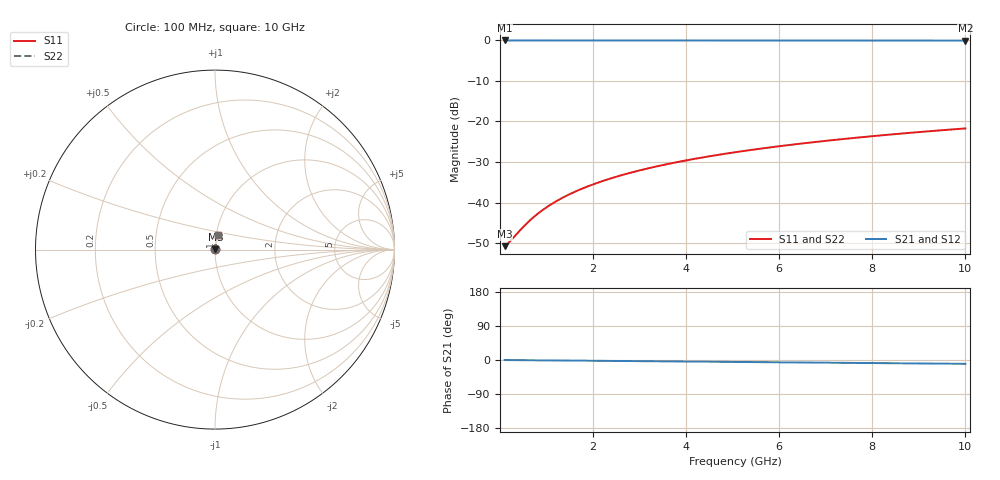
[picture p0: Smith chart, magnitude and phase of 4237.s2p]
# Hz S RI R 50.00
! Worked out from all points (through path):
!   100 points, 100 MHz to 10 GHz, reference 50 ohm
!   highest |S21| = -0.02 dB at 100 MHz (marker M1); lowest = -0.1 dB at 10 GHz (marker M2)
!   group delay of S21, straight-line fit = 2.8 ps
!   lowest |S11| = -50.7 dB at 100 MHz (marker M3), VSWR 1.01, Z = 50.3 + j0.0825 ohm
!   |S11| at or under -10 dB: start of sweep to end of sweep
!   |S22| runs from -50.7 to -21.7 dB; largest |S21 - S12| = 0
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1e8  0.00278 0.00082  0.9972 -0.00176  0.9972 -0.00176  0.00278 0.00082
2e8  0.0028 0.00164  0.9972 -0.00351  0.9972 -0.00351  0.0028 0.00164
5e8  0.00287 0.0041  0.9971 -0.00879  0.9971 -0.00879  0.00287 0.0041
6e8  0.00289 0.00492  0.9971 -0.0105  0.9971 -0.0105  0.00289 0.00492
7e8  0.00292 0.00574  0.9971 -0.0123  0.9971 -0.0123  0.00292 0.00574
9e8  0.00298 0.00738  0.997 -0.0158  0.997 -0.0158  0.00298 0.00738
1.1e9  0.00305 0.00902  0.9969 -0.0193  0.9969 -0.0193  0.00305 0.00902
1.3e9  0.00312 0.0107  0.9968 -0.0228  0.9968 -0.0228  0.00312 0.0107
1.5e9  0.00321 0.0123  0.9967 -0.0264  0.9967 -0.0264  0.00321 0.0123
1.8e9  0.00337 0.0148  0.9965 -0.0316  0.9965 -0.0316  0.00337 0.0148
2.1e9  0.00355 0.0172  0.9962 -0.0369  0.9962 -0.0369  0.00355 0.0172
2.5e9  0.00383 0.0205  0.9959 -0.0439  0.9959 -0.0439  0.00383 0.0205
2.9e9  0.00415 0.0237  0.9955 -0.0509  0.9955 -0.0509  0.00415 0.0237
3.4e9  0.00462 0.0278  0.9948 -0.0597  0.9948 -0.0597  0.00462 0.0278
3.8e9  0.00505 0.0311  0.9943 -0.0667  0.9943 -0.0667  0.00505 0.0311
4.2e9  0.00552 0.0343  0.9937 -0.0737  0.9937 -0.0737  0.00552 0.0343
5.1e9  0.00674 0.0416  0.9921 -0.0894  0.9921 -0.0894  0.00674 0.0416
5.9e9  0.00803 0.048  0.9904 -0.1034  0.9904 -0.1034  0.00803 0.048
6.7e9  0.00949 0.0544  0.9885 -0.1173  0.9885 -0.1173  0.00949 0.0544
7.5e9  0.0111 0.0607  0.9863 -0.1311  0.9863 -0.1311  0.0111 0.0607
8.4e9  0.0132 0.0678  0.9836 -0.1467  0.9836 -0.1467  0.0132 0.0678
1e10  0.0174 0.0802  0.9781 -0.1742  0.9781 -0.1742  0.0174 0.0802
